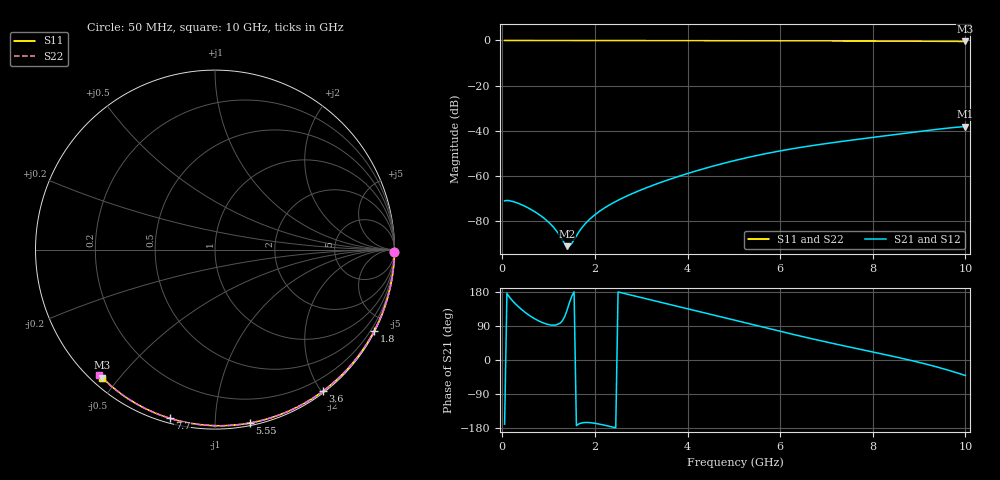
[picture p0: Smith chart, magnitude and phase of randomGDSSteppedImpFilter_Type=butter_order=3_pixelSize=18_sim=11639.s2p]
! freq	dB(S11)	phase(S11)	dB(S12)	phase(S12)
!  dB(S21)	phase(S21)	dB(S22)	phase(S22)
!S-par simulation data
#  GHz  S  DB  R 50
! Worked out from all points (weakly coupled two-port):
!   200 points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, 50 MHz to 10 GHz, reference 50 ohm
!   highest |S21| = -38.11 dB at 10 GHz (marker M1); lowest = -91.1 dB at 1.4 GHz (marker M2)
!   lowest |S11| = -0.4 dB at 10 GHz (marker M3), VSWR 38.82, Z = 1.55 - j22.6 ohm
!   |S11| at or under -10 dB: nowhere
!   |S22| runs from -0.4 to 0.0 dB; largest |S21 - S12| = 0
!   S11 on the Smith chart (normalised r, x): 50 MHz: open; 1.8 GHz: 0.04, -4.18; 3.6 GHz: 0.02, -2.02; 5.55 GHz: 0.02, -1.22; 7.7 GHz: 0.02, -0.77; 10 GHz: 0.03, -0.45
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0.05  -0.00 -0.8  -71.02 -169.3  -71.02 -169.3  -0.00 -0.8
0.1  -0.00 -1.5  -70.83 175.9  -70.83 175.9  -0.00 -1.5
0.2  -0.00 -3.0  -71.15 159.2  -71.15 159.2  -0.00 -3.1
0.45  -0.00 -6.8  -73.02 129.9  -73.02 129.9  -0.01 -6.9
0.7  -0.01 -10.6  -75.81 108.8  -75.81 108.8  -0.01 -10.7
1  -0.02 -15.1  -80.45 93.5  -80.45 93.5  -0.02 -15.2
1.4  -0.03 -21.0  -91.07 132.1  -91.07 132.1  -0.03 -21.2
1.75  -0.03 -26.2  -82.12 -165.4  -82.12 -165.4  -0.03 -26.4
1.8  -0.03 -26.9  -80.94 -164.9  -80.94 -164.9  -0.03 -27.1
1.85  -0.04 -27.7  -79.88 -164.9  -79.88 -164.9  -0.04 -27.9
2.1  -0.04 -31.3  -75.62 -169.2  -75.62 -169.2  -0.04 -31.6
2.45  -0.05 -36.4  -71.28 -178.9  -71.28 -178.9  -0.05 -36.7
2.85  -0.05 -42.1  -67.41 169.1  -67.41 169.1  -0.06 -42.5
3.4  -0.07 -49.9  -63.01 152.8  -63.01 152.8  -0.07 -50.3
3.6  -0.07 -52.7  -61.58 146.9  -61.58 146.9  -0.07 -53.1
4.3  -0.09 -62.2  -57.07 126.4  -57.07 126.4  -0.09 -62.7
5.05  -0.11 -72.2  -53.00 104.1  -53.00 104.1  -0.11 -72.8
5.55  -0.13 -78.7  -50.69 89.1  -50.69 89.1  -0.13 -79.3
6.7  -0.18 -93.0  -46.52 55.7  -46.52 55.7  -0.18 -93.8
7.7  -0.24 -105.1  -43.71 28.9  -43.71 28.9  -0.24 -105.9
8.35  -0.28 -112.7  -42.00 12.0  -42.00 12.0  -0.29 -113.6
10  -0.45 -131.4  -38.11 -40.9  -38.11 -40.9  -0.44 -132.7
